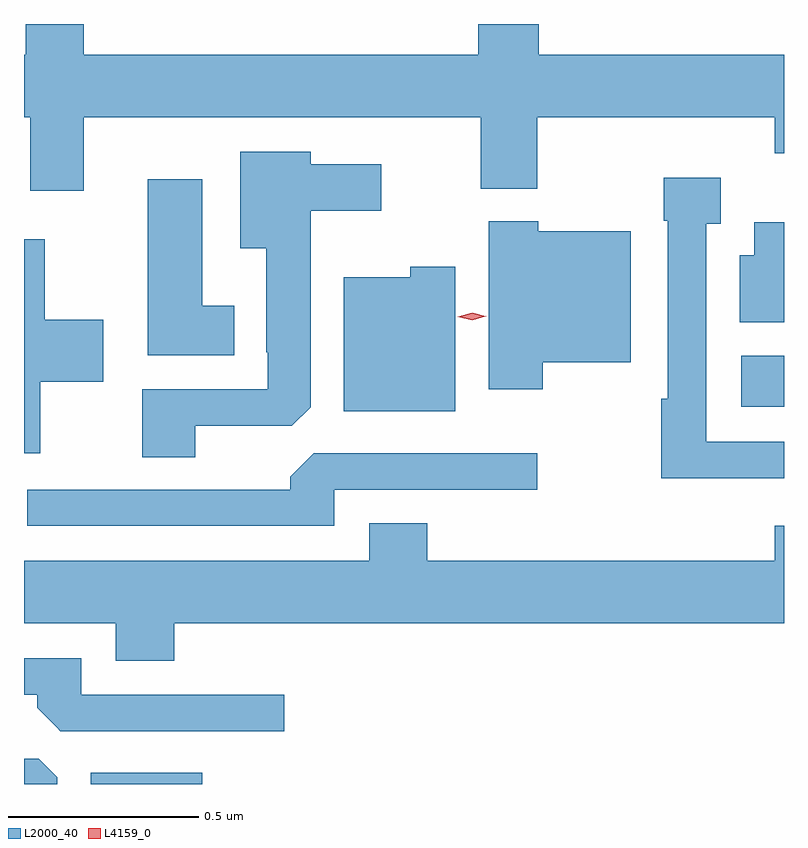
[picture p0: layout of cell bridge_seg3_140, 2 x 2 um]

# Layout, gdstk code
import gdstk
lib = gdstk.Library(unit=1e-6, precision=1e-09)
def R(c, l, rs):  # rectangles x0, y0, x1, y1
    for r in rs: c.add(gdstk.rectangle(r[:2], r[2:], *l))
def P(c, l, *ps):  # polygons
    for p in ps: c.add(gdstk.Polygon(p, *l))
L2000_40 = (2000, 40)
L4159_0 = (4159, 0)

bridge_seg3_140 = lib.new_cell('bridge_seg3_140')
R(bridge_seg3_140, L2000_40, [(323.033,669.857,323.326,669.886), (324.744,670.85,324.857,670.984)])
P(bridge_seg3_140, L2000_40, [(323.014,671.612),(324.059,671.612),(324.059,671.423),(324.207,671.423),(324.207,671.612),(324.833,671.612),(324.833,671.517),(324.857,671.517),(324.857,671.776),(324.212,671.776),(324.212,671.857),(324.052,671.857),(324.052,671.776),(323.014,671.776),(323.014,671.857),(322.862,671.857),(322.862,671.776),(322.857,671.776),(322.857,671.612),(322.874,671.612),(322.874,671.418),(323.014,671.418)],
  [(323.308,670.8),(323.562,670.8),(323.611,670.849),(323.611,671.366),(323.797,671.366),(323.797,671.488),(323.611,671.488),(323.611,671.521),(323.426,671.521),(323.426,671.267),(323.495,671.267),(323.495,670.993),(323.499,670.993),(323.499,670.896),(323.168,670.896),(323.168,670.717),(323.308,670.717)],
  [(324.774,670.662),(324.857,670.662),(324.857,670.758),(324.652,670.758),(324.652,671.331),(324.691,671.331),(324.691,671.452),(324.541,671.452),(324.541,671.339),(324.551,671.339),(324.551,670.871),(324.534,670.871),(324.534,670.661),(324.774,670.661)],
  [(323.41,671.116),(323.326,671.116),(323.326,671.449),(323.183,671.449),(323.183,670.985),(323.41,670.985)],
  [(324.222,670.967),(324.454,670.967),(324.454,671.311),(324.21,671.311),(324.21,671.338),(324.08,671.338),(324.08,670.896),(324.222,670.896)],
  [(324.857,671.335),(324.779,671.335),(324.779,671.248),(324.74,671.248),(324.74,671.072),(324.857,671.072)],
  [(322.9,670.916),(323.065,670.916),(323.065,671.079),(322.912,671.079),(322.912,671.29),(322.857,671.29),(322.857,670.727),(322.9,670.727)],
  [(323.992,671.218),(323.874,671.218),(323.874,671.191),(323.699,671.191),(323.699,670.838),(323.992,670.838)],
  [(323.673,670.632),(324.208,670.632),(324.208,670.728),(323.619,670.728),(323.558,670.666),(323.558,670.632),(322.866,670.632),(322.866,670.536),(323.673,670.536)],
  [(323.252,670.28),(324.857,670.28),(324.857,670.537),(324.833,670.537),(324.833,670.444),(323.918,670.444),(323.918,670.543),(323.765,670.543),(323.765,670.444),(322.857,670.444),(322.857,670.28),(323.099,670.28),(323.099,670.181),(323.252,670.181)],
  [(323.542,670.092),(323.007,670.092),(323.007,670.188),(322.857,670.188),(322.857,670.092),(322.892,670.092),(322.892,670.058),(322.944,670.005),(322.953,669.996),(323.542,669.996)],
  [(322.945,669.875),(322.896,669.924),(322.857,669.924),(322.857,669.857),(322.945,669.857)])
P(bridge_seg3_140, L4159_0, [(324.036,671.077),(323.999,671.086),(323.999,671.086),(323.999,671.086),(324.036,671.097),(324.072,671.088),(324.073,671.088),(324.072,671.088)])

lib.write_gds('bridge_seg3_140.gds')
